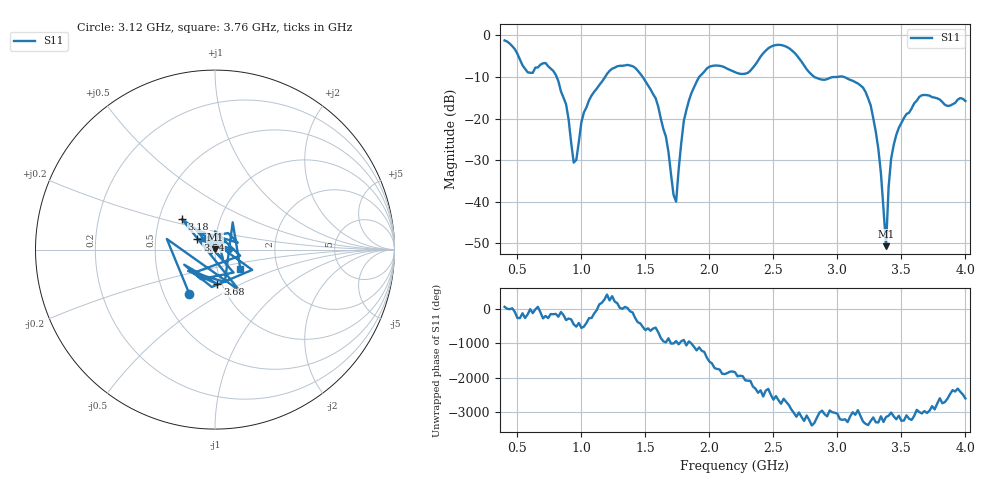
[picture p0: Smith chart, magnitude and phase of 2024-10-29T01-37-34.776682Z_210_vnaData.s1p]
!Created with skrf (http://scikit-rf.org).
# Hz S RI R 50.0
!freq ReS11 ImS11
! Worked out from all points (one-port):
!   181 points, 400 MHz to 4 GHz, reference 50 ohm
!   lowest |S11| = -50.7 dB at 3.38 GHz (marker M1), VSWR 1.01, Z = 49.9 + j0.286 ohm
!   |S11| at or under -10 dB: 806.9 MHz to 1.185 GHz (378.1 MHz wide, 38 % of centre); 1.479 GHz to 1.919 GHz (440.3 MHz wide, 25.9 % of centre); 3.052 GHz to end of sweep (the widest 3 of 4)
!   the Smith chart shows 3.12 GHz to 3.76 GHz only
!   S11 on the Smith chart (normalised r, x): 3.12 GHz: 0.67, -0.36; 3.18 GHz: 0.65, +0.24; 3.54 GHz: 0.82, +0.09; 3.68 GHz: 0.95, -0.38; 3.76 GHz: 1.29, -0.29
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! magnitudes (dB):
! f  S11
! 400 MHz  -1.2
! 580 MHz  -8.9
! 720 MHz  -6.6
! 860 MHz  -14.9
! 940 MHz  -30.6
! 1.06 GHz  -15.6
! 1.3 GHz  -7.3
! 1.58 GHz  -15.1
! 1.74 GHz  -40.0
! 1.76 GHz  -32.2
! 1.8 GHz  -20.6
! 1.92 GHz  -10.0
! 2.2 GHz  -8.8
! 2.66 GHz  -4.0
! 2.82 GHz  -10.0
! 3.1 GHz  -10.7
! 3.12 GHz  -10.9
! 3.18 GHz  -12.0
! 3.3 GHz  -23.2
! 3.34 GHz  -33.1
! 3.38 GHz  -50.7
! 3.4 GHz  -36.5
! 3.42 GHz  -29.6
! 3.54 GHz  -18.9
! 3.56 GHz  -18.6
! 3.68 GHz  -14.3
! 3.76 GHz  -14.9
! 4 GHz  -15.8
